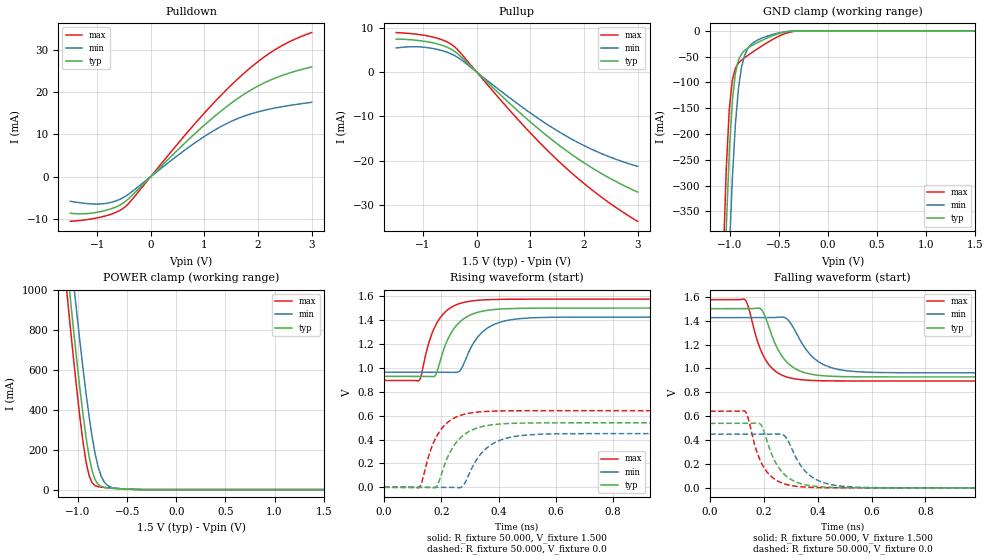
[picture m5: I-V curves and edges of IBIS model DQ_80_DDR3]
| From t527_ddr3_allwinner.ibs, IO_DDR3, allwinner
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|   Model DQ_80_DDR3
[Model] DQ_80_DDR3
Model_type I/O
Polarity   Non-Inverting
Enable   Active-Low
Vinl =  0.750V
Vinh =  0.750V
C_comp   1.581pF   1.546pF   1.625pF
C_comp_pullup   0.516pF   0.500pF   0.537pF
C_comp_pulldown   0.800pF   0.781pF   0.823pF
[Model Spec]
Vinh   0.750V   0.712V   0.787V
Vinl   0.750V   0.712V   0.787V
[Temperature Range]   25.000   0.125k   -40.000
[Voltage Range]   1.500V   1.425V   1.575V
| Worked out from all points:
|   slope of the pulldown table from 0 to 0.225 V, typ, clamps not added: 78.6 ohm
|   slope of the pullup table from 0 to 0.225 V, typ, clamps not added: 85.8 ohm
|   GND clamp passes 1 mA (typ) near -0.39 V on its own axis
|   POWER clamp passes 1 mA (typ) near -0.43 V on its own axis
|   rising waveform, R_fixture 50.000, V_fixture 1.500: 20-80 % time 71.4ps typ, 79.4ps min, 64.3ps max; typ from 0.929 V to 1.5 V
|   rising waveform, R_fixture 50.000, V_fixture 0.0: 20-80 % time 75.3ps typ, 83.5ps min, 68ps max; typ from 0 V to 0.54 V
|   falling waveform, R_fixture 50.000, V_fixture 1.500: 20-80 % time 76.8ps typ, 91.7ps min, 67.5ps max; typ from 1.5 V to 0.929 V
|   falling waveform, R_fixture 50.000, V_fixture 0.0: 20-80 % time 71.9ps typ, 81.8ps min, 64.1ps max; typ from 0.54 V to 0 V
[Pulldown]
|Voltage   I(typ)   I(min)   I(max)
-1.5V     -8.729mA   -5.885mA   -10.64mA
-1.224V   -8.834mA   -6.378mA   -10.29mA
-902mV    -8.234mA   -6.482mA   -9.544mA
-672mV    -7.342mA   -5.884mA   -8.621mA
-488mV    -6.049mA   -4.818mA   -7.293mA
846mV     10.47mA    8.217mA    12.91mA
1.214V    14.57mA    11.22mA    18.05mA
1.582V    18.2mA     13.57mA    22.73mA
1.95V     21.18mA    15.2mA     26.82mA
2.272V    23.16mA    16.18mA    29.79mA
2.594V    24.64mA    16.91mA    32.09mA
3V        26.06mA    17.64mA    34.22mA
[Pullup]
|Voltage   I(typ)   I(min)   I(max)
-1.5V     7.403mA    5.409mA    8.872mA
-1.232V   7.259mA    5.678mA    8.647mA
-956mV    6.869mA    5.536mA    8.206mA
-680mV    6.136mA    4.922mA    7.393mA
-450mV    4.944mA    3.938mA    6.038mA
-312mV    3.642mA    2.955mA    4.438mA
792mV     -9.007mA   -7.391mA   -10.98mA
1.482V    -15.97mA   -13.06mA   -19.53mA
1.85V     -19.2mA    -15.61mA   -23.54mA
2.218V    -22.06mA   -17.78mA   -27.15mA
2.586V    -24.56mA   -19.58mA   -30.38mA
3V        -27mA      -21.23mA   -33.58mA
[GND_clamp]
|Voltage   I(typ)   I(min)   I(max)
-1.5V     -3.542A    -3.63A     -3.522A
-1.066V   -574.9mA   -807mA     -446.3mA
-1.035V   -383.4mA   -606.8mA   -267.9mA
-1.004V   -234mA     -430.3mA   -151.7mA
-973mV    -135.8mA   -286.6mA   -95.12mA
-942mV    -82.41mA   -181mA     -72.43mA
-911mV    -56.9mA    -111.8mA   -62.62mA
-880mV    -44.73mA   -70.74mA   -56.82mA
-849mV    -38.08mA   -47.74mA   -52.2mA
-756mV    -26.67mA   -22.36mA   -39.79mA
-322mV    -204.2uA   -258.8uA   -609.2uA
1.5V      0A         0A         0A
[POWER_clamp]
|Voltage   I(typ)   I(min)   I(max)
-1.5V     3.137A     3.334A     3.027A
-1.135V   1.239A     1.47A      1.1A
-1.104V   1.085A     1.319A     943.4mA
-1.073V   933.1mA    1.169A     789.3mA
-1.042V   784.9mA    1.022A     639.4mA
-1.011V   641.4mA    879mA      495.4mA
-918mV    261.7mA    482mA      139mA
-887mV    165.4mA    366.5mA    69.82mA
-825mV    48.42mA    178mA      19.77mA
-732mV    10.66mA    37.14mA    10.79mA
-608mV    4.953mA    6.242mA    6.01mA
1.5V      0A         0A         0A
[Ramp]
| variable   typ   min   max
dV/dt_r   0.324/75.338p   0.270/83.539p   0.385/68.067p
dV/dt_f   0.343/76.861p   0.277/91.686p   0.408/67.576p
R_load = 50.000
[Rising Waveform]
R_fixture= 50.000
V_fixture= 1.500
V_fixture_min= 1.425
V_fixture_max= 1.575
|time   V(typ)   V(min)   V(max)
0s        928.7mV    963.4mV    894.5mV
123ps     928.7mV    963.5mV    896.2mV
155ps     927.7mV    963.3mV    1.2V
177ps     931.5mV    963.3mV    1.342V
222ps     1.237V     962.1mV    1.485V
262ps     1.378V     969.6mV    1.536V
305ps     1.446V     1.177V     1.559V
378ps     1.487V     1.356V     1.572V
503ps     1.499V     1.417V     1.575V
2ns       1.5V       1.425V     1.575V
[Rising Waveform]
R_fixture= 50.000
V_fixture= 0.0
V_fixture_min= 0.0
V_fixture_max= 0.0
|time   V(typ)   V(min)   V(max)
0s        7.369uV    123.2uV    797.9nV
123ps     151.5uV    134.4uV    733.5uV
179ps     -1.295mV   191uV      406.7mV
229ps     288.3mV    190.5uV    556.6mV
271ps     423.7mV    3.318mV    605.4mV
316ps     489mV      203.4mV    627mV
351ps     513.1mV    312.6mV    634.3mV
393ps     527.6mV    381.4mV    638.3mV
520ps     538.8mV    441.3mV    641.3mV
2ns       540mV      449.6mV    641.6mV
[Falling Waveform]
R_fixture= 50.000
V_fixture= 1.500
V_fixture_min= 1.425
V_fixture_max= 1.575
|time   V(typ)   V(min)   V(max)
0s        1.5V       1.425V     1.575V
130ps     1.5V       1.425V     1.575V
187ps     1.5V       1.425V     1.161V
219ps     1.344V     1.425V     1.03V
260ps     1.127V     1.429V     951.7mV
289ps     1.044V     1.408V     925.5mV
324ps     988.6mV    1.281V     909.3mV
407ps     941.3mV    1.05V      897.1mV
537ps     929.8mV    973.8mV    894.7mV
2ns       928.7mV    963.4mV    894.5mV
[Falling Waveform]
R_fixture= 50.000
V_fixture= 0.0
V_fixture_min= 0.0
V_fixture_max= 0.0
|time   V(typ)   V(min)   V(max)
0s        540mV      449.6mV    641.6mV
131ps     539.9mV    449.6mV    639.1mV
185ps     537.1mV    449.6mV    236.9mV
247ps     197.5mV    451.2mV    62.57mV
279ps     106.4mV    431.3mV    31.6mV
311ps     57.88mV    291.2mV    15.98mV
344ps     30.94mV    165.2mV    7.916mV
383ps     14.76mV    84.35mV    3.436mV
510ps     1.352mV    9.938mV    227.1uV
2ns       7.386uV    123.3uV    799nV
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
